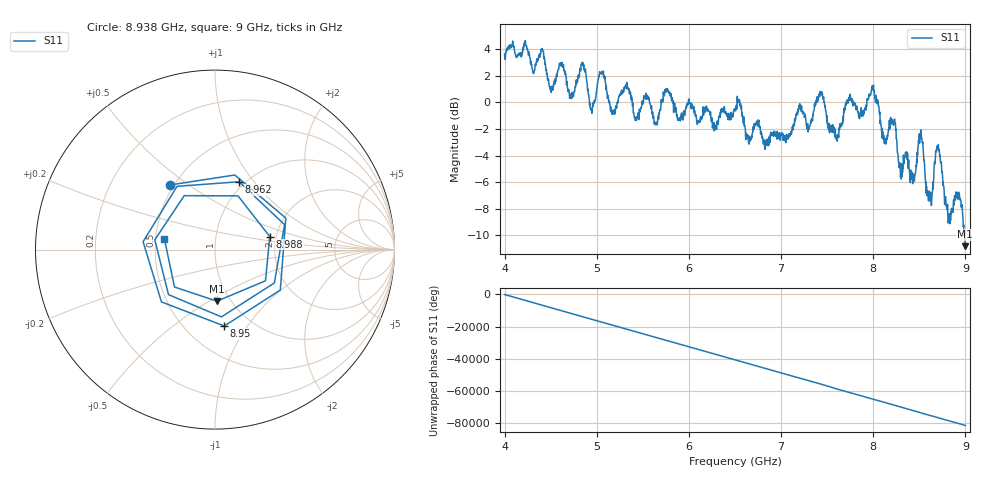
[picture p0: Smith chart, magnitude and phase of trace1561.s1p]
! Created with skrf 1.8.0 (http://scikit-rf.org).
# Hz S RI R 50.0
!freq ReS11 ImS11
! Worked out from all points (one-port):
!   1601 points, 4 GHz to 9 GHz, reference 50 ohm
!   lowest |S11| = -10.8 dB at 8.994 GHz (marker M1), VSWR 1.81, Z = 43.2 - j27.1 ohm
!   |S11| at or under -10 dB: 8.987149 GHz to 8.988447 GHz (1.298 MHz wide, 0.0144 % of centre); 8.99196 GHz to end of sweep
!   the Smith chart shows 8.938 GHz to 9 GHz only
!   S11 on the Smith chart (normalised r, x): 8.938 GHz: 0.48, +0.43; 8.95 GHz: 0.76, -0.79; 8.962 GHz: 0.94, +0.85; 8.988 GHz: 1.85, +0.30; 9 GHz: 0.56, +0.07
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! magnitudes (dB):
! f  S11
! 4 GHz  3.6
! 4.625 GHz  3.0
! 4.728 GHz  0.5
! 4.853 GHz  2.9
! 4.947 GHz  -0.8
! 5.047 GHz  2.2
! 5.25 GHz  0.6
! 5.875 GHz  -1.3
! 6.5 GHz  -0.6
! 6.647 GHz  -3.0
! 7.125 GHz  -1.9
! 7.431 GHz  0.6
! 7.606 GHz  -2.5
! 7.75 GHz  0.6
! 8.003 GHz  1.3
! 8.116 GHz  -2.5
! 8.216 GHz  -1.7
! 8.375 GHz  -4.3
! 8.516 GHz  -2.1
! 8.619 GHz  -7.4
! 8.7 GHz  -3.4
! 8.816 GHz  -8.9
! 8.938 GHz  -7.2
! 8.95 GHz  -7.4
! 8.962 GHz  -7.9
! 8.988 GHz  -10.1
! 8.994 GHz  -10.8
! 9 GHz  -10.8
